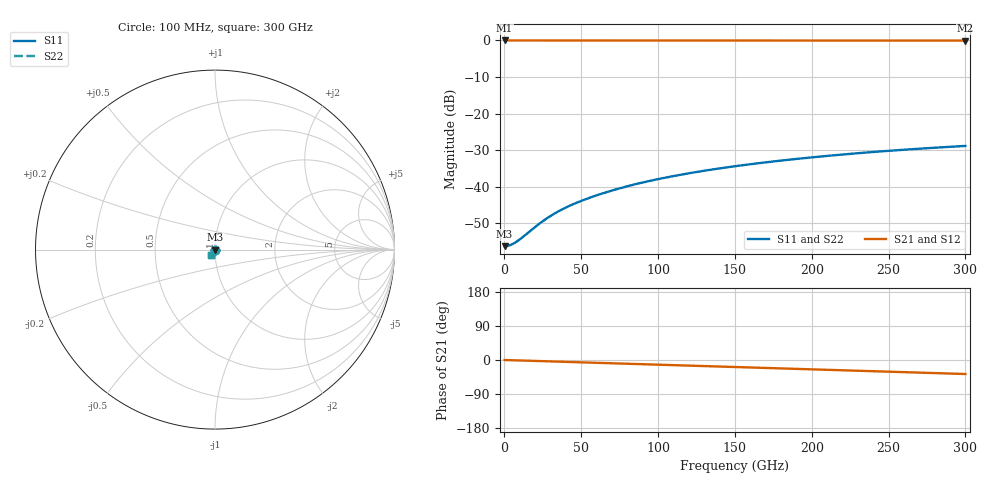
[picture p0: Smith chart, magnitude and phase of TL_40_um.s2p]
#  Hz  S  RI  R  50
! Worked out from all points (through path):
!   3000 points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, 100 MHz to 300 GHz, reference 50 ohm
!   highest |S21| = -0.01 dB at 100 MHz (marker M1); lowest = -0.1 dB at 300 GHz (marker M2)
!   group delay of S21, straight-line fit = 342 fs
!   lowest |S11| = -56.2 dB at 100 MHz (marker M3), VSWR 1.00, Z = 50.2 - j0.000884 ohm
!   |S11| at or under -10 dB: start of sweep to end of sweep
!   |S22| runs from -56.2 to -28.8 dB; largest |S21 - S12| = 3.8e-07
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1e8  0.00155 -8.81e-06  0.9985 -0.000221  0.9985 -0.000221  0.00155 -8.81e-06
1.9e9  0.00155 -0.000168  0.9984 -0.00419  0.9984 -0.00419  0.00155 -0.000168
3.7e9  0.00157 -0.000329  0.9984 -0.00815  0.9984 -0.00815  0.00157 -0.000329
5.6e9  0.00159 -0.000503  0.9983 -0.0123  0.9983 -0.0123  0.00159 -0.000503
7.7e9  0.00163 -0.000703  0.9982 -0.0169  0.9982 -0.0169  0.00163 -0.000703
1.12e10  0.0017 -0.00106  0.9979 -0.0246  0.9979 -0.0246  0.0017 -0.00106
2.34e10  0.00196 -0.00255  0.9965 -0.0508  0.9965 -0.0508  0.00196 -0.00255
2.78e10  0.002 -0.00315  0.9959 -0.0602  0.9959 -0.0602  0.002 -0.00315
3.23e10  0.002 -0.00379  0.9952 -0.0698  0.9952 -0.0698  0.002 -0.00379
4.06e10  0.00189 -0.00494  0.9938 -0.0874  0.9938 -0.0874  0.00189 -0.00494
5.01e10  0.00167 -0.00622  0.9917 -0.1077  0.9917 -0.1077  0.00167 -0.00622
6.12e10  0.00136 -0.00768  0.9886 -0.1313  0.9886 -0.1313  0.00136 -0.00768
7.36e10  0.000908 -0.00932  0.9846 -0.1575  0.9846 -0.1575  0.000908 -0.00932
8.63e10  0.000307 -0.011  0.9798 -0.1842  0.9798 -0.1842  0.000307 -0.011
1.001e11  -0.00049 -0.0128  0.9738 -0.2132  0.9738 -0.2132  -0.00049 -0.0128
1.241e11  -0.00217 -0.0157  0.9613 -0.2629  0.9613 -0.2629  -0.00217 -0.0157
1.501e11  -0.00443 -0.0186  0.9448 -0.3161  0.9448 -0.3161  -0.00443 -0.0186
1.744e11  -0.0069 -0.021  0.9268 -0.3648  0.9268 -0.3648  -0.0069 -0.021
2.001e11  -0.00985 -0.0233  0.9049 -0.4153  0.9049 -0.4153  -0.00985 -0.0233
2.256e11  -0.0131 -0.0251  0.8805 -0.4642  0.8805 -0.4642  -0.0131 -0.0251
2.501e11  -0.0163 -0.0264  0.8544 -0.5098  0.8544 -0.5098  -0.0163 -0.0264
3e11  -0.0232 -0.0278  0.7939 -0.5979  0.7939 -0.5979  -0.0232 -0.0278
